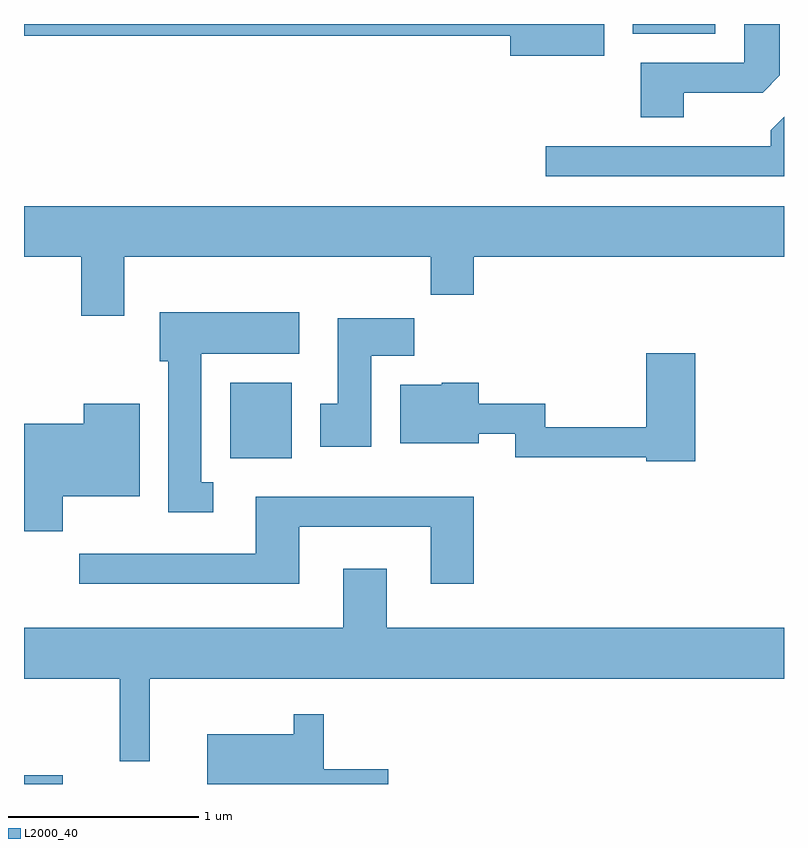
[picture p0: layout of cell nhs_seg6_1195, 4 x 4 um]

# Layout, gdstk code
import gdstk
lib = gdstk.Library(unit=1e-6, precision=1e-09)
def R(c, l, rs):  # rectangles x0, y0, x1, y1
    for r in rs: c.add(gdstk.rectangle(r[:2], r[2:], *l))
def P(c, l, *ps):  # polygons
    for p in ps: c.add(gdstk.Polygon(p, *l))
L2000_40 = (2000, 40)

nhs_seg6_1195 = lib.new_cell('nhs_seg6_1195')
R(nhs_seg6_1195, L2000_40, [(221.611,1536.162,221.814,1536.209), (222.696,1537.876,223.019,1538.274), (224.816,1540.111,225.249,1540.162)])
P(nhs_seg6_1195, L2000_40, [(224.664,1540.162),(221.611,1540.162),(221.611,1540.101),(224.171,1540.101),(224.171,1539.996),(224.664,1539.996)],
  [(225.084,1539.801),(225.499,1539.801),(225.589,1539.892),(225.589,1540.162),(225.401,1540.162),(225.401,1539.959),(224.856,1539.959),(224.856,1539.671),(225.084,1539.671)],
  [(225.611,1539.673),(225.541,1539.604),(225.541,1539.519),(224.358,1539.519),(224.358,1539.361),(225.611,1539.361)],
  [(222.139,1538.936),(223.751,1538.936),(223.751,1538.736),(223.979,1538.736),(223.979,1538.936),(225.611,1538.936),(225.611,1539.204),(221.611,1539.204),(221.611,1538.936),(221.911,1538.936),(221.911,1538.626),(222.139,1538.626)],
  [(222.608,1537.749),(222.544,1537.749),(222.544,1538.426),(223.059,1538.426),(223.059,1538.644),(222.326,1538.644),(222.326,1538.386),(222.371,1538.386),(222.371,1537.591),(222.608,1537.591)],
  [(223.439,1538.416),(223.664,1538.416),(223.664,1538.614),(223.261,1538.614),(223.261,1538.164),(223.171,1538.164),(223.171,1537.936),(223.439,1537.936)],
  [(225.144,1538.429),(224.886,1538.429),(224.886,1538.039),(224.354,1538.039),(224.354,1538.164),(224.004,1538.164),(224.004,1538.274),(223.81,1538.274),(223.81,1538.264),(223.591,1538.264),(223.591,1537.956),(224.004,1537.956),(224.004,1538.006),(224.196,1538.006),(224.196,1537.881),(224.886,1537.881),(224.886,1537.861),(225.144,1537.861)],
  [(221.814,1537.676),(222.219,1537.676),(222.219,1538.164),(221.926,1538.164),(221.926,1538.059),(221.611,1538.059),(221.611,1537.491),(221.814,1537.491)],
  [(223.059,1537.516),(223.751,1537.516),(223.751,1537.216),(223.979,1537.216),(223.979,1537.674),(222.831,1537.674),(222.831,1537.374),(221.903,1537.374),(221.903,1537.216),(223.059,1537.216)],
  [(222.274,1536.716),(225.611,1536.716),(225.611,1536.984),(223.519,1536.984),(223.519,1537.294),(223.291,1537.294),(223.291,1536.984),(221.611,1536.984),(221.611,1536.716),(222.116,1536.716),(222.116,1536.283),(222.274,1536.283)],
  [(223.529,1536.239),(223.189,1536.239),(223.189,1536.528),(223.031,1536.528),(223.031,1536.424),(222.576,1536.424),(222.576,1536.162),(223.529,1536.162)])

lib.write_gds('nhs_seg6_1195.gds')
